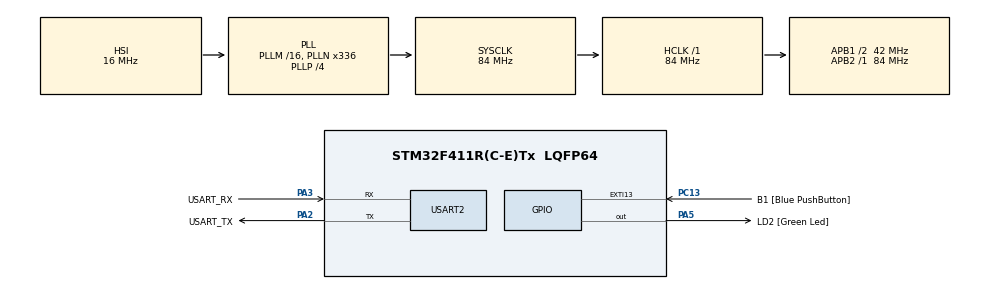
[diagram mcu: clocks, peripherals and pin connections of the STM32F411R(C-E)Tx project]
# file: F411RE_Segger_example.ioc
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Dma.Request0=USART2_RX
Dma.Request1=USART2_TX
Dma.USART2_RX.0.Direction=DMA_PERIPH_TO_MEMORY
Dma.USART2_RX.0.FIFOMode=DMA_FIFOMODE_DISABLE
Dma.USART2_RX.0.Instance=DMA1_Stream5
Dma.USART2_RX.0.MemDataAlignment=DMA_MDATAALIGN_BYTE
Dma.USART2_RX.0.MemInc=DMA_MINC_ENABLE
Dma.USART2_RX.0.Mode=DMA_CIRCULAR
Dma.USART2_RX.0.PeriphDataAlignment=DMA_PDATAALIGN_BYTE
Dma.USART2_RX.0.PeriphInc=DMA_PINC_DISABLE
Dma.USART2_RX.0.Priority=DMA_PRIORITY_LOW
Dma.USART2_TX.1.Direction=DMA_MEMORY_TO_PERIPH
Dma.USART2_TX.1.FIFOMode=DMA_FIFOMODE_DISABLE
Dma.USART2_TX.1.Instance=DMA1_Stream6
Dma.USART2_TX.1.MemDataAlignment=DMA_MDATAALIGN_BYTE
Dma.USART2_TX.1.MemInc=DMA_MINC_ENABLE
Dma.USART2_TX.1.Mode=DMA_NORMAL
Dma.USART2_TX.1.PeriphDataAlignment=DMA_PDATAALIGN_BYTE
Dma.USART2_TX.1.PeriphInc=DMA_PINC_DISABLE
Dma.USART2_TX.1.Priority=DMA_PRIORITY_LOW
FREERTOS.Tasks01=defaultTask,0,128,StartDefaultTask,Default,NULL,Dynamic,NULL,NULL
FREERTOS.configUSE_COUNTING_SEMAPHORES=1
FREERTOS.configUSE_NEWLIB_REENTRANT=1
FREERTOS.configUSE_RECURSIVE_MUTEXES=1
Mcu.Family=STM32F4
Mcu.Name=STM32F411R(C-E)Tx
Mcu.Package=LQFP64
NVIC.DMA1_Stream5_IRQn=true\:5\:0\:false\:false\:true\:true\:false\:true\:true
NVIC.DMA1_Stream6_IRQn=true\:5\:0\:false\:false\:true\:true\:false\:true\:true
NVIC.PriorityGroup=NVIC_PRIORITYGROUP_4
NVIC.TIM1_TRG_COM_TIM11_IRQn=true\:15\:0\:false\:false\:true\:false\:false\:true\:true
NVIC.TimeBase=TIM1_TRG_COM_TIM11_IRQn
NVIC.TimeBaseIP=TIM11
NVIC.USART2_IRQn=true\:5\:0\:false\:false\:true\:true\:true\:true\:true
PA13.GPIO_Label=TMS
PA13.Mode=Serial_Wire
PA13.Signal=SYS_JTMS-SWDIO
PA14.GPIO_Label=TCK
PA14.Mode=Serial_Wire
PA14.Signal=SYS_JTCK-SWCLK
PA2.GPIO_Label=USART_TX
PA2.Mode=Asynchronous
PA2.Signal=USART2_TX
PA3.GPIO_Label=USART_RX
PA3.Mode=Asynchronous
PA3.Signal=USART2_RX
PA5.GPIO_Label=LD2 [Green Led]
PA5.Signal=GPIO_Output
PB3.GPIO_Label=SWO
PB3.Signal=SYS_JTDO-SWO
PC13-ANTI_TAMP.GPIO_Label=B1 [Blue PushButton]
PC13-ANTI_TAMP.GPIO_ModeDefaultEXTI=GPIO_MODE_IT_FALLING
PC13-ANTI_TAMP.Signal=GPXTI13
PC14-OSC32_IN.Mode=LSE-External-Oscillator
PC14-OSC32_IN.Signal=RCC_OSC32_IN
PC15-OSC32_OUT.Mode=LSE-External-Oscillator
PC15-OSC32_OUT.Signal=RCC_OSC32_OUT
PH0\ -\ OSC_IN.Mode=HSE-External-Clock-Source
PH0\ -\ OSC_IN.Signal=RCC_OSC_IN
PH1\ -\ OSC_OUT.Mode=HSE-External-Clock-Source
PH1\ -\ OSC_OUT.Signal=RCC_OSC_OUT
ProjectManager.HeapSize=0x200
ProjectManager.StackSize=0x400
ProjectManager.TargetToolchain=STM32CubeIDE
RCC.48MHZClocksFreq_Value=84000000
RCC.AHBFreq_Value=84000000
RCC.APB1CLKDivider=RCC_HCLK_DIV2
RCC.APB1Freq_Value=42000000
RCC.APB1TimFreq_Value=84000000
RCC.APB2Freq_Value=84000000
RCC.APB2TimFreq_Value=84000000
RCC.CortexFreq_Value=84000000
RCC.FLatency-AdvancedSettings=FLASH_LATENCY_2
RCC.HCLKFreq_Value=84000000
RCC.HSE_VALUE=8000000
RCC.HSI_VALUE=16000000
RCC.PLLN=336
RCC.PLLP=RCC_PLLP_DIV4
RCC.SYSCLKFreq_VALUE=84000000
RCC.SYSCLKSource=RCC_SYSCLKSOURCE_PLLCLK
RCC.VCOOutputFreq_Value=336000000
USART2.VirtualMode=VM_ASYNC
VP_FREERTOS_VS_CMSIS_V1.Mode=CMSIS_V1
VP_SYS_VS_tim11.Mode=TIM11
board=NUCLEO-F411RE

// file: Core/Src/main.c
/* USER CODE BEGIN Header */
/**
  ******************************************************************************
  * @file           : main.c
  * @brief          : Main program body
  ******************************************************************************
  * @attention
  *
  * Copyright (c) 2024 STMicroelectronics.
  * All rights reserved.
  *
  * This software is licensed under terms that can be found in the LICENSE file
  * in the root directory of this software component.
  * If no LICENSE file comes with this software, it is provided AS-IS.
  *
  ******************************************************************************
  */
/* USER CODE END Header */
#include "main.h"
#include "cmsis_os.h"
#include "dma.h"
#include "usart.h"
#include "gpio.h"

/* USER CODE BEGIN Includes */
#include "BVR_common_defs.h"
#include "BVR_debug_logger.h"
#include "BVR_error.h"
#include "BVR_fifo_buffer.h"
#include "BVR_utils.h"

#if SEGGER_DBG
#include "SEGGER_SYSVIEW.h"
#include "SEGGER_SYSVIEW_Conf.h"
#endif

/* USER CODE END Includes */

/* USER CODE BEGIN PTD */

fifo_t dbg_uart_tx_fifo;
reset_cause_t reset_cause;

/* USER CODE END PTD */

/* USER CODE BEGIN PV */

char firmware_date[FW_SIZE] = {'\0'};
const char *reset_cause_str = NULL;

/* USER CODE END PV */

void SystemClock_Config(void);
void MX_FREERTOS_Init(void);

/* USER CODE BEGIN 0 */

// set up the call back for the uart and fifo
void HAL_UART_TxCpltCallback(UART_HandleTypeDef *huart)
{
    volatile temp_buffer_t temp_dma;
    if(huart == &DBG_HUART)
    {
        // pop from the fifo
        temp_dma = BVR_fifo_pop_from_temp(&dbg_uart_tx_fifo);
        // Send to the DMA
        HAL_UART_Transmit_DMA(  &DBG_HUART,
                                temp_dma.p_temp_buff,
                                temp_dma.buff_size);
    }
}

/* USER CODE END 0 */

int main(void)
{

  /* MCU Configuration--------------------------------------------------------*/

  /* Reset of all peripherals, Initializes the Flash interface and the Systick. */
  HAL_Init();

  /* Configure the system clock */
  SystemClock_Config();

  /* USER CODE BEGIN SysInit */
    reset_cause = BVR_get_reset_cause();
  /* USER CODE END SysInit */

  /* Initialize all configured peripherals */
  MX_GPIO_Init();
  MX_DMA_Init();
  MX_USART2_UART_Init();
  /* USER CODE BEGIN 2 */

#if !SEGGER_DBG
    // init the uart debug
    BVR_uart_debug_init();
#endif

    // get the human readable reset cause
    reset_cause_str = BVR_reset_cause_get_name(reset_cause);

    // get device id
    BVR_get_unique_ID();
    BVR_calculate_crc(U_ID, U_ID_SIZE, &device_UID);
    // get firmware date
    BVR_create_firmware_date(firmware_date);
    // power on message
    BVR_power_on_information(reset_cause_str, firmware_date, U_ID, device_UID);

// SEGGER SYSTEM VIEW
// THIS MUST BE CALLED AFTER EVERYTHING ELSE
// ONLY MX_FREERTOS_Init() then osKernelStart() should be called after this
#if SEGGER_DBG
    SystemInit();
    SEGGER_SYSVIEW_Conf();
    SEGGER_SYSVIEW_Start();
#endif
  /* USER CODE END 2 */

  /* Call init function for freertos objects (in freertos.c) */
  MX_FREERTOS_Init();

  /* Start scheduler */
  osKernelStart();

  /* We should never get here as control is now taken by the scheduler */
  /* Infinite loop */
  while (1)
  {

  }
}

void SystemClock_Config(void)
{
  RCC_OscInitTypeDef RCC_OscInitStruct = {0};
  RCC_ClkInitTypeDef RCC_ClkInitStruct = {0};

  /** Configure the main internal regulator output voltage
  */
  __HAL_RCC_PWR_CLK_ENABLE();
  __HAL_PWR_VOLTAGESCALING_CONFIG(PWR_REGULATOR_VOLTAGE_SCALE1);

  /** Initializes the RCC Oscillators according to the specified parameters
  * in the RCC_OscInitTypeDef structure.
  */
  RCC_OscInitStruct.OscillatorType = RCC_OSCILLATORTYPE_HSI;
  RCC_OscInitStruct.HSIState = RCC_HSI_ON;
  RCC_OscInitStruct.HSICalibrationValue = RCC_HSICALIBRATION_DEFAULT;
  RCC_OscInitStruct.PLL.PLLState = RCC_PLL_ON;
  RCC_OscInitStruct.PLL.PLLSource = RCC_PLLSOURCE_HSI;
  RCC_OscInitStruct.PLL.PLLM = 16;
  RCC_OscInitStruct.PLL.PLLN = 336;
  RCC_OscInitStruct.PLL.PLLP = RCC_PLLP_DIV4;
  RCC_OscInitStruct.PLL.PLLQ = 4;
  if (HAL_RCC_OscConfig(&RCC_OscInitStruct) != HAL_OK)
  {
    Error_Handler();
  }

  /** Initializes the CPU, AHB and APB buses clocks
  */
  RCC_ClkInitStruct.ClockType = RCC_CLOCKTYPE_HCLK|RCC_CLOCKTYPE_SYSCLK
                              |RCC_CLOCKTYPE_PCLK1|RCC_CLOCKTYPE_PCLK2;
  RCC_ClkInitStruct.SYSCLKSource = RCC_SYSCLKSOURCE_PLLCLK;
  RCC_ClkInitStruct.AHBCLKDivider = RCC_SYSCLK_DIV1;
  RCC_ClkInitStruct.APB1CLKDivider = RCC_HCLK_DIV2;
  RCC_ClkInitStruct.APB2CLKDivider = RCC_HCLK_DIV1;

  if (HAL_RCC_ClockConfig(&RCC_ClkInitStruct, FLASH_LATENCY_2) != HAL_OK)
  {
    Error_Handler();
  }
}

void HAL_TIM_PeriodElapsedCallback(TIM_HandleTypeDef *htim)
{
  if (htim->Instance == TIM11) {
    HAL_IncTick();
  }
}

void Error_Handler(void)
{
  __disable_irq();
  while (1)
  {
  }
}
